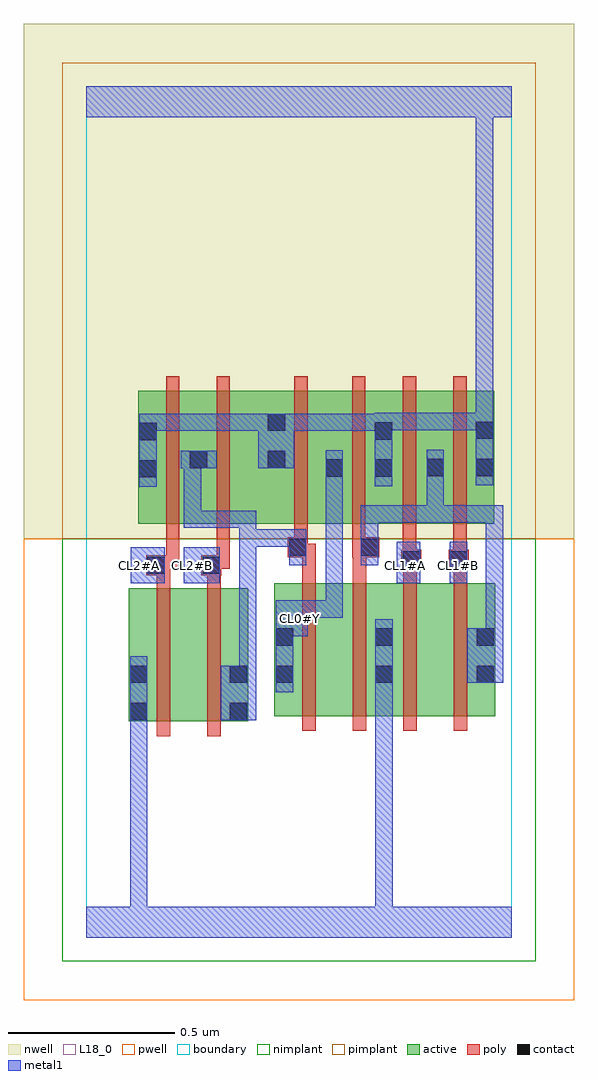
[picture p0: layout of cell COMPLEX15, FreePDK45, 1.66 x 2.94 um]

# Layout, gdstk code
import gdstk
lib = gdstk.Library(unit=1e-6, precision=1e-09)
def R(c, l, rs):  # rectangles x0, y0, x1, y1
    for r in rs: c.add(gdstk.rectangle(r[:2], r[2:], *l))
def A(c, l, x, y, w, h, nx, ny, dx, dy):  # array of equal rectangles
    R(c, l, [(x+i*dx, y+j*dy, x+i*dx+w, y+j*dy+h) for i in range(nx) for j in range(ny)])
active = (1, 0)
pwell = (2, 0)
nwell = (3, 0)
nimplant = (4, 0)
pimplant = (5, 0)
poly = (9, 0)
contact = (10, 0)
metal1 = (11, 0)
L18_0 = (18, 0)
boundary = (235, 0)

complex15 = lib.new_cell('COMPLEX15')
R(complex15, active, [(0.128,0.65,0.308,1.05), (0.128,0.65,0.188,1.05), (0.308,0.65,0.488,1.05), (0.428,0.65,0.488,1.05), (0.566,0.666,0.746,1.066), (0.746,0.666,0.926,1.066), (0.866,0.666,1.05,1.066), (1.05,0.666,1.23,1.066), (0.566,0.756,0.626,1.066), (0.866,0.756,0.926,1.066), (1.17,0.756,1.23,1.066), (0.156,1.244,0.216,1.644), (0.156,1.244,0.368,1.644), (0.308,1.244,0.368,1.644), (0.308,1.244,0.602,1.644), (0.542,1.244,0.602,1.644), (0.542,1.244,0.776,1.644), (0.716,1.244,0.776,1.644), (0.716,1.244,0.924,1.644), (0.864,1.244,0.924,1.644), (0.864,1.244,1.08,1.644), (1.02,1.244,1.08,1.644), (1.02,1.244,1.228,1.644), (1.168,1.244,1.228,1.644)])
R(complex15, pwell, [(-0.188,-0.188,1.468,1.2)])
R(complex15, nwell, [(-0.188,1.2,1.468,2.748)])
R(complex15, nimplant, [(-0.072,-0.072,1.352,1.2)])
R(complex15, pimplant, [(-0.072,1.2,1.352,2.632)])
A(complex15, poly, 0.65, 0.622, 0.04, 0.488, 4, 1, 0.152, 0)
A(complex15, poly, 0.8, 1.2, 0.04, 0.488, 3, 1, 0.152, 0)
R(complex15, poly, [(0.212,0.606,0.252,1.094), (0.364,0.606,0.404,1.094), (0.212,1.054,0.252,1.13), (0.364,1.054,0.404,1.13), (0.65,1.07,0.69,1.184), (0.802,1.07,0.842,1.184), (0.954,1.07,0.994,1.146), (1.106,1.07,1.146,1.146), (0.18,1.09,0.252,1.15), (0.346,1.09,0.406,1.15), (0.948,1.106,1.008,1.166), (1.09,1.106,1.15,1.166), (0.212,1.11,0.252,1.15), (0.212,1.11,0.28,1.15), (0.24,1.11,0.28,1.24), (0.366,1.11,0.406,1.15), (0.366,1.11,0.432,1.15), (0.392,1.11,0.432,1.24), (0.952,1.126,0.992,1.24), (0.952,1.126,0.992,1.166), (0.952,1.126,0.992,1.166), (1.104,1.126,1.144,1.24), (1.104,1.126,1.144,1.166), (1.104,1.126,1.144,1.166), (0.606,1.144,0.666,1.204), (0.626,1.144,0.666,1.184), (0.626,1.144,0.69,1.184), (0.8,1.144,0.882,1.204), (0.802,1.144,0.842,1.184), (0.802,1.144,0.842,1.184), (0.626,1.164,0.666,1.24), (0.8,1.164,0.84,1.24), (0.24,1.2,0.28,1.688), (0.392,1.2,0.432,1.688), (0.626,1.2,0.666,1.688)])
R(complex15, contact, [(0.132,0.654,0.184,0.706), (0.432,0.654,0.484,0.706), (0.132,0.766,0.184,0.818), (0.432,0.766,0.484,0.818), (0.57,0.766,0.622,0.818), (0.87,0.766,0.922,0.818), (1.174,0.766,1.226,0.818), (0.57,0.878,0.622,0.93), (0.87,0.878,0.922,0.93), (1.174,0.878,1.226,0.93), (0.184,1.094,0.236,1.146), (0.35,1.094,0.402,1.146), (0.952,1.11,1.004,1.162), (1.094,1.11,1.146,1.162), (0.61,1.148,0.662,1.2), (0.826,1.148,0.878,1.2), (0.16,1.384,0.212,1.436), (0.72,1.386,0.772,1.438), (0.868,1.386,0.92,1.438), (1.024,1.388,1.076,1.44), (1.172,1.388,1.224,1.44), (0.312,1.412,0.364,1.464), (0.546,1.412,0.598,1.464), (0.16,1.496,0.212,1.548), (0.868,1.498,0.92,1.55), (1.172,1.5,1.224,1.552), (0.546,1.524,0.598,1.576)])
R(complex15, metal1, [(0,0,1.28,0.092), (0.132,0.04,0.184,0.092), (0.132,0.04,0.184,0.092), (0.132,0.04,0.184,0.092), (0.132,0.04,0.184,0.092), (0.132,0.04,0.184,0.092), (0.132,0.04,0.184,0.092), (0.132,0.04,0.184,0.678), (0.87,0.04,0.922,0.092), (0.87,0.04,0.922,0.092), (0.87,0.04,0.922,0.092), (0.87,0.04,0.922,0.092), (0.87,0.04,0.922,0.79), (0.132,0.626,0.184,0.678), (0.132,0.626,0.184,0.678), (0.132,0.626,0.184,0.678), (0.132,0.626,0.184,0.678), (0.132,0.626,0.184,0.678), (0.132,0.626,0.184,0.678), (0.132,0.626,0.184,0.846), (0.404,0.654,0.512,0.818), (0.57,0.738,0.622,0.958), (0.87,0.738,0.922,0.79), (0.87,0.738,0.922,0.79), (0.87,0.738,0.922,0.79), (0.87,0.738,0.922,0.79), (0.87,0.738,0.922,0.79), (0.87,0.738,0.922,0.79), (0.87,0.738,0.922,0.79), (0.87,0.738,0.922,0.79), (0.87,0.738,0.922,0.958), (0.46,0.766,0.512,0.818), (0.46,0.766,0.512,0.818), (0.46,0.766,0.512,1.228), (1.146,0.766,1.254,0.93), (1.202,0.878,1.254,1.3), (0.57,0.906,0.622,0.958), (0.57,0.906,0.666,1.014), (0.614,0.962,0.666,1.014), (0.614,0.962,0.666,1.014), (0.614,0.962,0.772,1.014), (0.72,0.962,0.772,1.014), (0.72,0.962,0.772,1.41), (0.134,1.066,0.236,1.174), (0.294,1.066,0.402,1.174), (0.934,1.066,1.004,1.19), (1.094,1.066,1.146,1.19), (0.61,1.12,0.662,1.228), (0.826,1.12,0.878,1.228), (0.46,1.176,0.512,1.228), (0.46,1.176,0.512,1.228), (0.46,1.176,0.512,1.284), (0.46,1.176,0.662,1.228), (0.826,1.176,0.878,1.228), (0.826,1.176,0.878,1.3), (0.294,1.232,0.346,1.284), (0.294,1.232,0.346,1.284), (0.294,1.232,0.346,1.284), (0.294,1.232,0.512,1.284), (0.294,1.232,0.346,1.464), (0.826,1.248,1,1.3), (0.948,1.248,1,1.3), (0.948,1.248,1.076,1.3), (1.024,1.248,1.076,1.3), (1.024,1.248,1.254,1.3), (1.024,1.248,1.076,1.412), (1.202,1.248,1.254,1.3), (1.202,1.248,1.254,1.3), (1.202,1.248,1.254,1.3), (1.202,1.248,1.254,1.3), (1.202,1.248,1.254,1.3), (0.16,1.356,0.212,1.576), (0.72,1.358,0.772,1.41), (0.72,1.358,0.772,1.41), (0.72,1.358,0.772,1.466), (0.868,1.358,0.92,1.578), (1.024,1.36,1.076,1.468), (1.172,1.36,1.224,1.58), (0.284,1.412,0.392,1.464), (0.518,1.412,0.626,1.576), (0.16,1.524,0.212,1.576), (0.16,1.524,0.212,1.576), (0.16,1.524,0.346,1.576), (0.294,1.524,0.346,1.576), (0.294,1.524,0.346,1.576), (0.294,1.524,0.346,1.576), (0.294,1.524,0.512,1.576), (0.46,1.524,0.512,1.576), (0.46,1.524,0.57,1.576), (0.574,1.524,0.626,1.576), (0.574,1.524,0.626,1.576), (0.574,1.524,0.772,1.576), (0.72,1.524,0.772,1.576), (0.72,1.524,0.776,1.576), (0.724,1.524,0.776,1.576), (0.724,1.524,0.92,1.576), (0.868,1.526,1.03,1.578), (0.978,1.526,1.03,1.578), (0.978,1.526,1.03,1.578), (0.978,1.526,1.03,1.578), (0.978,1.526,1.224,1.578), (1.172,1.526,1.224,1.578), (1.172,1.526,1.224,1.578), (1.172,1.528,1.224,1.58), (1.172,1.528,1.224,1.58), (1.172,1.528,1.224,1.58), (1.172,1.528,1.224,1.58), (1.172,1.528,1.224,1.58), (1.172,1.528,1.224,1.58), (1.172,1.528,1.224,1.58), (1.172,1.528,1.224,1.58), (1.172,1.528,1.224,1.58), (1.172,1.528,1.224,1.58), (1.172,1.528,1.224,1.58), (1.172,1.528,1.224,1.58), (1.172,1.528,1.224,1.58), (1.172,1.528,1.224,1.58), (1.172,1.528,1.224,1.58), (1.172,1.528,1.224,1.58), (1.172,1.528,1.224,2.52), (0,2.468,1.28,2.56)])
R(complex15, L18_0, [(0,0,1.28,0.092), (0.132,0.04,0.184,0.092), (0.132,0.04,0.184,0.092), (0.132,0.04,0.184,0.092), (0.132,0.04,0.184,0.092), (0.132,0.04,0.184,0.092), (0.132,0.04,0.184,0.092), (0.132,0.04,0.184,0.678), (0.87,0.04,0.922,0.092), (0.87,0.04,0.922,0.092), (0.87,0.04,0.922,0.092), (0.87,0.04,0.922,0.092), (0.87,0.04,0.922,0.79), (0.132,0.626,0.184,0.678), (0.132,0.626,0.184,0.678), (0.132,0.626,0.184,0.678), (0.132,0.626,0.184,0.678), (0.132,0.626,0.184,0.678), (0.132,0.626,0.184,0.678), (0.132,0.626,0.184,0.846), (0.57,0.738,0.622,0.958), (0.87,0.738,0.922,0.79), (0.87,0.738,0.922,0.79), (0.87,0.738,0.922,0.79), (0.87,0.738,0.922,0.79), (0.87,0.738,0.922,0.79), (0.87,0.738,0.922,0.79), (0.87,0.738,0.922,0.79), (0.87,0.738,0.922,0.79), (0.87,0.738,0.922,0.958), (0.57,0.906,0.622,0.958), (0.57,0.906,0.666,1.014), (0.614,0.934,0.666,0.986), (0.614,0.962,0.666,1.014), (0.614,0.962,0.666,1.014), (0.614,0.962,0.772,1.014), (0.72,0.962,0.772,1.014), (0.72,0.962,0.772,1.41), (0.134,1.066,0.236,1.174), (0.294,1.066,0.402,1.174), (0.934,1.066,1.004,1.19), (1.094,1.066,1.146,1.19), (0.134,1.094,0.186,1.146), (0.294,1.094,0.346,1.146), (0.934,1.094,0.986,1.146), (1.094,1.094,1.146,1.146), (0.16,1.356,0.212,1.576), (0.72,1.358,0.772,1.41), (0.72,1.358,0.772,1.41), (0.72,1.358,0.772,1.466), (0.868,1.358,0.92,1.578), (1.172,1.36,1.224,1.58), (0.518,1.412,0.626,1.576), (0.16,1.524,0.212,1.576), (0.16,1.524,0.212,1.576), (0.16,1.524,0.346,1.576), (0.294,1.524,0.346,1.576), (0.294,1.524,0.346,1.576), (0.294,1.524,0.346,1.576), (0.294,1.524,0.512,1.576), (0.46,1.524,0.512,1.576), (0.46,1.524,0.57,1.576), (0.574,1.524,0.626,1.576), (0.574,1.524,0.626,1.576), (0.574,1.524,0.772,1.576), (0.72,1.524,0.772,1.576), (0.72,1.524,0.776,1.576), (0.724,1.524,0.776,1.576), (0.724,1.524,0.92,1.576), (0.868,1.526,1.03,1.578), (0.978,1.526,1.03,1.578), (0.978,1.526,1.03,1.578), (0.978,1.526,1.03,1.578), (0.978,1.526,1.224,1.578), (1.172,1.526,1.224,1.578), (1.172,1.526,1.224,1.578), (1.172,1.528,1.224,1.58), (1.172,1.528,1.224,1.58), (1.172,1.528,1.224,1.58), (1.172,1.528,1.224,1.58), (1.172,1.528,1.224,1.58), (1.172,1.528,1.224,1.58), (1.172,1.528,1.224,1.58), (1.172,1.528,1.224,1.58), (1.172,1.528,1.224,1.58), (1.172,1.528,1.224,1.58), (1.172,1.528,1.224,1.58), (1.172,1.528,1.224,1.58), (1.172,1.528,1.224,1.58), (1.172,1.528,1.224,1.58), (1.172,1.528,1.224,1.58), (1.172,1.528,1.224,1.58), (1.172,1.528,1.224,2.52), (0,2.468,1.28,2.56)])
R(complex15, boundary, [(0,0,1.28,2.56)])
complex15.add(gdstk.Label('CL0#Y', (0.64,0.96), layer=11, texttype=0))
complex15.add(gdstk.Label('CL1#A', (0.96,1.12), layer=11, texttype=0))
complex15.add(gdstk.Label('CL1#B', (1.12,1.12), layer=11, texttype=0))
complex15.add(gdstk.Label('CL2#A', (0.16,1.12), layer=11, texttype=0))
complex15.add(gdstk.Label('CL2#B', (0.32,1.12), layer=11, texttype=0))

lib.write_gds('COMPLEX15.gds')
